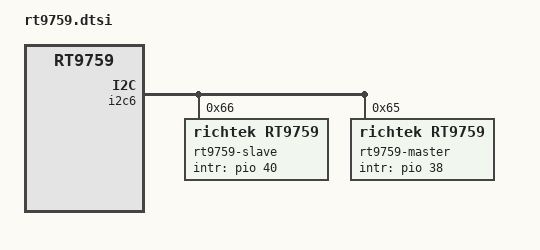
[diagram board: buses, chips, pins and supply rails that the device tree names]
// SPDX-License-Identifier: (GPL-2.0 OR MIT)
/*
 * Copyright (C) 2021 MediaTek Inc.
 */

&i2c6 {
	#address-cells = <1>;
	#size-cells = <0>;
	rt9759-slave@66 {
		compatible = "richtek,rt9759";
		status = "okay";
		reg = <0x66>;
		/* Please modify this to rt9759_slave if there is dual rt9759 */
		rm-name = "rt9759_slave";
		rm-slave-addr = /bits/ 8 <0x66>;
		rt9759,intr-gpios = <&pio 40 0x0>;
		standalone {
			chg-name = "primary_dvchg";
			vbatovp = <4500000>;
			vbatovp-alm = <4400000>;
			ibatocp = <6100000>;
			ibatocp-alm = <6000000>;
			ibatucp-alm = <1000000>;
			vbusovp = <10000000>;
			vbusovp-alm = <9000000>;
			ibusocp = <4250000>;
			ibusocp-alm = <4000000>;
			vacovp = <11000000>;
			wdt = <30000000>;
			ibat-rsense = <0>; /* 0: 2mohm, 1: 5mohm */
			ibusucpf-deglitch = <1>; /* 0: 10us, 1: 5ms */
			/* vbatovp-dis; */
			/* vbatovp-alm-dis; */
			/* ibatocp-dis; */
			ibatocp-alm-dis;
			ibatucp-alm-dis;
			/* vbusovp-alm-dis; */
			/* ibusocp-dis; */
			ibusocp-alm-dis;
			/* wdt-dis; */
			/* tsbusotp-dis; */
			/* tsbatotp-dis; */
			/* tdieotp-dis; */
			/* reg-en; */
			/* voutovp-dis; */
			/* ibusadc-dis; */
			/* vbusadc-dis; */
			/* vacadc-dis; */
			/* voutadc-dis; */
			/* vbatadc-dis; */
			/* ibatadc-dis; */
			/* tsbusadc-dis; */
			/* tsbatadc-dis; */
			/* tdieadc-dis; */
			ibat-rsense-half;
		};
		slave {
			chg-name = "secondary_dvchg";
			vbatovp = <4500000>;
			vbatovp-alm = <4400000>;
			ibatocp = <6100000>;
			ibatocp-alm = <6000000>;
			ibatucp-alm = <1000000>;
			vbusovp = <10000000>;
			vbusovp-alm = <9000000>;
			ibusocp = <4250000>;
			ibusocp-alm = <4000000>;
			vacovp = <11000000>;
			wdt = <1000000>;
			ibat-rsense = <0>; /* 0: 2mohm, 1: 5mohm */
			ibusucpf-deglitch = <1>; /* 0: 10us, 1: 5ms */
			vbatovp-dis;
			vbatovp-alm-dis;
			ibatocp-dis;
			ibatocp-alm-dis;
			ibatucp-alm-dis;
			vbusovp-alm-dis;
			/* ibusocp-dis; */
			ibusocp-alm-dis;
			wdt-dis;
			/* tsbusotp-dis; */
			/* tsbatotp-dis; */
			/* tdieotp-dis; */
			/* reg-en; */
			/* voutovp-dis; */
			/* ibusadc-dis; */
			/* vbusadc-dis; */
			/* vacadc-dis; */
			/* voutadc-dis; */
			vbatadc-dis;
			ibatadc-dis;
			/* tsbusadc-dis; */
			/* tsbatadc-dis; */
			/* tdieadc-dis; */
			ibat-rsense-half;
		};
	};
	rt9759-master@65 {
		compatible = "richtek,rt9759";
		status = "okay";
		reg = <0x65>;
		rm-name = "rt9759_master";
		rm-slave-addr = /bits/ 8 <0x65>;
		rt9759,intr-gpios = <&pio 38 0x0>;
		standalone {
			chg-name = "primary_dvchg";
			vbatovp = <4500000>;
			vbatovp-alm = <4400000>;
			ibatocp = <6100000>;
			ibatocp-alm = <6000000>;
			ibatucp-alm = <1000000>;
			vbusovp = <10000000>;
			vbusovp-alm = <9000000>;
			ibusocp = <4250000>;
			ibusocp-alm = <4000000>;
			vacovp = <11000000>;
			wdt = <30000000>;
			ibat-rsense = <0>; /* 0: 2mohm, 1: 5mohm */
			ibusucpf-deglitch = <1>; /* 0: 10us, 1: 5ms */
			/* vbatovp-dis; */
			/* vbatovp-alm-dis; */
			/* ibatocp-dis; */
			ibatocp-alm-dis;
			ibatucp-alm-dis;
			/* vbusovp-alm-dis; */
			/* ibusocp-dis; */
			ibusocp-alm-dis;
			/* wdt-dis; */
			/* tsbusotp-dis; */
			/* tsbatotp-dis; */
			/* tdieotp-dis; */
			/* reg-en; */
			/* voutovp-dis; */
			/* ibusadc-dis; */
			/* vbusadc-dis; */
			/* vacadc-dis; */
			/* voutadc-dis; */
			/* vbatadc-dis; */
			/* ibatadc-dis; */
			/* tsbusadc-dis; */
			/* tsbatadc-dis; */
			/* tdieadc-dis; */
			ibat-rsense-half;
		};
		master {
			chg-name = "primary_dvchg";
			vbatovp = <4500000>;
			vbatovp-alm = <4400000>;
			ibatocp = <6100000>;
			ibatocp-alm = <6000000>;
			ibatucp-alm = <1000000>;
			vbusovp = <10000000>;
			vbusovp-alm = <9000000>;
			ibusocp = <4250000>;
			ibusocp-alm = <4000000>;
			vacovp = <11000000>;
			wdt = <30000000>;
			ibat-rsense = <0>; /* 0: 2mohm, 1: 5mohm */
			ibusucpf-deglitch = <1>; /* 0: 10us, 1: 5ms */
			/* vbatovp-dis; */
			/* vbatovp-alm-dis; */
			/* ibatocp-dis; */
			ibatocp-alm-dis;
			/* ibatucp-alm-dis; */
			/* vbusovp-alm-dis; */
			/* ibusocp-dis; */
			ibusocp-alm-dis;
			/* wdt-dis; */
			tsbusotp-dis;
			tsbatotp-dis;
			/* tdieotp-dis; */
			/* reg-en; */
			/* voutovp-dis; */
			/* ibusadc-dis; */
			/* vbusadc-dis; */
			/* vacadc-dis; */
			/* voutadc-dis; */
			/* vbatadc-dis; */
			/* ibatadc-dis; */
			tsbusadc-dis;
			tsbatadc-dis;
			/* tdieadc-dis; */
			ibat-rsense-half;
		};
	};
};
